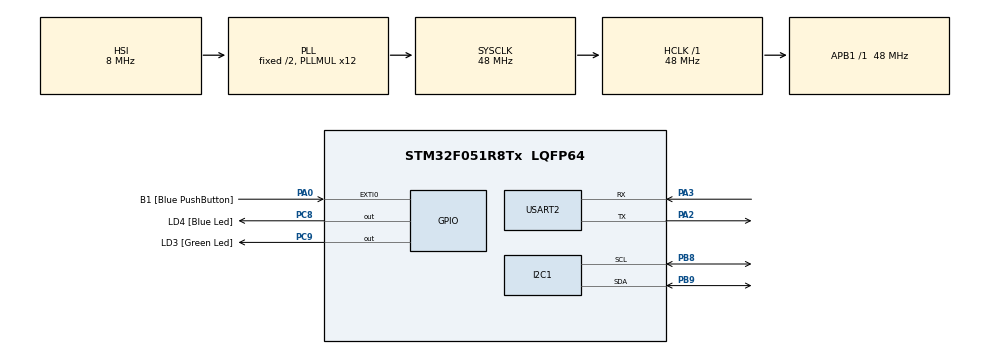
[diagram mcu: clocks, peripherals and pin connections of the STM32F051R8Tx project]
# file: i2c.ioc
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Mcu.Family=STM32F0
Mcu.Name=STM32F051R8Tx
Mcu.Package=LQFP64
PA0.GPIO_Label=B1 [Blue PushButton]
PA0.GPIO_ModeDefaultEXTI=GPIO_MODE_EVT_RISING
PA0.Signal=GPXTI0
PA13.GPIO_Label=SWDIO
PA13.Mode=Serial_Wire
PA13.Signal=SYS_SWDIO
PA14.GPIO_Label=SWCLK
PA14.Mode=Serial_Wire
PA14.Signal=SYS_SWCLK
PA2.Mode=Asynchronous
PA2.Signal=USART2_TX
PA3.Mode=Asynchronous
PA3.Signal=USART2_RX
PB8.Mode=I2C
PB8.Signal=I2C1_SCL
PB9.Mode=I2C
PB9.Signal=I2C1_SDA
PC8.GPIO_Label=LD4 [Blue Led]
PC8.Signal=GPIO_Output
PC9.GPIO_Label=LD3 [Green Led]
PC9.Signal=GPIO_Output
ProjectManager.HeapSize=0x200
ProjectManager.StackSize=0x400
ProjectManager.TargetToolchain=STM32CubeIDE
RCC.AHBFreq_Value=48000000
RCC.APB1Freq_Value=48000000
RCC.APB1TimFreq_Value=48000000
RCC.HCLKFreq_Value=48000000
RCC.PLLMUL=RCC_PLL_MUL12
RCC.SYSCLKFreq_VALUE=48000000
RCC.SYSCLKSource=RCC_SYSCLKSOURCE_PLLCLK
USART2.VirtualMode-Asynchronous=VM_ASYNC
board=STM32F0DISCOVERY

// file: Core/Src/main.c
/* USER CODE BEGIN Header */
/**
  ******************************************************************************
  * @file           : main.c
  * @brief          : Main program body
  ******************************************************************************
  * @attention
  *
  * Copyright (c) 2024 STMicroelectronics.
  * All rights reserved.
  *
  * This software is licensed under terms that can be found in the LICENSE file
  * in the root directory of this software component.
  * If no LICENSE file comes with this software, it is provided AS-IS.
  *
  ******************************************************************************
  */
/* USER CODE END Header */
#include "main.h"

/* USER CODE BEGIN Includes */
#include <stdio.h>
#include <string.h>
/* USER CODE END Includes */

I2C_HandleTypeDef hi2c1;

UART_HandleTypeDef huart2;

void SystemClock_Config(void);
static void MX_GPIO_Init(void);
static void MX_I2C1_Init(void);
static void MX_USART2_UART_Init(void);

int main(void)
{
  /* USER CODE BEGIN 1 */
	HAL_StatusTypeDef st;
	uint16_t data;
	uint8_t buf[60]; // four sensors using 15 bit sequences
	int temp = 0x0;
	const int addresses[4] = {0x48 << 1, 0x49 << 1, 0x4A << 1, 0x4B << 1};
	const int regAddr = 0x0;

  /* USER CODE END 1 */

  /* MCU Configuration--------------------------------------------------------*/

  /* Reset of all peripherals, Initializes the Flash interface and the Systick. */
  HAL_Init();

  /* Configure the system clock */
  SystemClock_Config();

  /* Initialize all configured peripherals */
  MX_GPIO_Init();
  MX_I2C1_Init();
  MX_USART2_UART_Init();

  /* Infinite loop */
  /* USER CODE BEGIN WHILE */
  while (1)
  {
	  //sprintf((char*)buf, "test!");
	  //HAL_UART_Transmit(&huart2, buf, strlen((char*)buf), HAL_MAX_DELAY);

	  for (int i = 0; i < 4; i++) {
		  buf[0] = regAddr;
		  st = HAL_I2C_Master_Transmit(&hi2c1, addresses[i], buf, 1, HAL_MAX_DELAY);

		  if (st == HAL_OK) {
			  data = ((uint16_t)buf[0] << 5 | buf[1] >> 3);
			  if (data > 0x7FF) data |= 0xF000;

			  temp = (data * 625)/100;
			  sprintf((char*)buf, "%d %u.%02u C\r\n", i, (unsigned int)temp/100,
					  (unsigned int)temp%100);

			  HAL_UART_Transmit(&huart2, buf, strlen((char*)buf), HAL_MAX_DELAY);

		  } else {
			  sprintf((char*)buf, "Could not receive data\r\n");
		  }
		  HAL_Delay(2000);
	  }
    /* USER CODE END WHILE */

  }
}

void SystemClock_Config(void)
{
  RCC_OscInitTypeDef RCC_OscInitStruct = {0};
  RCC_ClkInitTypeDef RCC_ClkInitStruct = {0};
  RCC_PeriphCLKInitTypeDef PeriphClkInit = {0};

  /** Initializes the RCC Oscillators according to the specified parameters
  * in the RCC_OscInitTypeDef structure.
  */
  RCC_OscInitStruct.OscillatorType = RCC_OSCILLATORTYPE_HSI;
  RCC_OscInitStruct.HSIState = RCC_HSI_ON;
  RCC_OscInitStruct.HSICalibrationValue = RCC_HSICALIBRATION_DEFAULT;
  RCC_OscInitStruct.PLL.PLLState = RCC_PLL_ON;
  RCC_OscInitStruct.PLL.PLLSource = RCC_PLLSOURCE_HSI;
  RCC_OscInitStruct.PLL.PLLMUL = RCC_PLL_MUL12;
  RCC_OscInitStruct.PLL.PREDIV = RCC_PREDIV_DIV1;
  if (HAL_RCC_OscConfig(&RCC_OscInitStruct) != HAL_OK)
  {
    Error_Handler();
  }

  /** Initializes the CPU, AHB and APB buses clocks
  */
  RCC_ClkInitStruct.ClockType = RCC_CLOCKTYPE_HCLK|RCC_CLOCKTYPE_SYSCLK
                              |RCC_CLOCKTYPE_PCLK1;
  RCC_ClkInitStruct.SYSCLKSource = RCC_SYSCLKSOURCE_PLLCLK;
  RCC_ClkInitStruct.AHBCLKDivider = RCC_SYSCLK_DIV1;
  RCC_ClkInitStruct.APB1CLKDivider = RCC_HCLK_DIV1;

  if (HAL_RCC_ClockConfig(&RCC_ClkInitStruct, FLASH_LATENCY_1) != HAL_OK)
  {
    Error_Handler();
  }
  PeriphClkInit.PeriphClockSelection = RCC_PERIPHCLK_I2C1;
  PeriphClkInit.I2c1ClockSelection = RCC_I2C1CLKSOURCE_HSI;
  if (HAL_RCCEx_PeriphCLKConfig(&PeriphClkInit) != HAL_OK)
  {
    Error_Handler();
  }
}

static void MX_I2C1_Init(void)
{

  hi2c1.Instance = I2C1;
  hi2c1.Init.Timing = 0x2000090E;
  hi2c1.Init.OwnAddress1 = 0;
  hi2c1.Init.AddressingMode = I2C_ADDRESSINGMODE_7BIT;
  hi2c1.Init.DualAddressMode = I2C_DUALADDRESS_DISABLE;
  hi2c1.Init.OwnAddress2 = 0;
  hi2c1.Init.OwnAddress2Masks = I2C_OA2_NOMASK;
  hi2c1.Init.GeneralCallMode = I2C_GENERALCALL_DISABLE;
  hi2c1.Init.NoStretchMode = I2C_NOSTRETCH_DISABLE;
  if (HAL_I2C_Init(&hi2c1) != HAL_OK)
  {
    Error_Handler();
  }

  /** Configure Analogue filter
  */
  if (HAL_I2CEx_ConfigAnalogFilter(&hi2c1, I2C_ANALOGFILTER_ENABLE) != HAL_OK)
  {
    Error_Handler();
  }

  /** Configure Digital filter
  */
  if (HAL_I2CEx_ConfigDigitalFilter(&hi2c1, 0) != HAL_OK)
  {
    Error_Handler();
  }

}

static void MX_USART2_UART_Init(void)
{

  huart2.Instance = USART2;
  huart2.Init.BaudRate = 38400;
  huart2.Init.WordLength = UART_WORDLENGTH_8B;
  huart2.Init.StopBits = UART_STOPBITS_1;
  huart2.Init.Parity = UART_PARITY_NONE;
  huart2.Init.Mode = UART_MODE_TX_RX;
  huart2.Init.HwFlowCtl = UART_HWCONTROL_NONE;
  huart2.Init.OverSampling = UART_OVERSAMPLING_16;
  huart2.Init.OneBitSampling = UART_ONE_BIT_SAMPLE_DISABLE;
  huart2.AdvancedInit.AdvFeatureInit = UART_ADVFEATURE_NO_INIT;
  if (HAL_UART_Init(&huart2) != HAL_OK)
  {
    Error_Handler();
  }

}

static void MX_GPIO_Init(void)
{
  GPIO_InitTypeDef GPIO_InitStruct = {0};

  /* GPIO Ports Clock Enable */
  __HAL_RCC_GPIOA_CLK_ENABLE();
  __HAL_RCC_GPIOC_CLK_ENABLE();
  __HAL_RCC_GPIOB_CLK_ENABLE();

  /*Configure GPIO pin Output Level */
  HAL_GPIO_WritePin(GPIOC, LD4_Pin|LD3_Pin, GPIO_PIN_RESET);

  /*Configure GPIO pin : B1_Pin */
  GPIO_InitStruct.Pin = B1_Pin;
  GPIO_InitStruct.Mode = GPIO_MODE_EVT_RISING;
  GPIO_InitStruct.Pull = GPIO_NOPULL;
  HAL_GPIO_Init(B1_GPIO_Port, &GPIO_InitStruct);

  /*Configure GPIO pins : LD4_Pin LD3_Pin */
  GPIO_InitStruct.Pin = LD4_Pin|LD3_Pin;
  GPIO_InitStruct.Mode = GPIO_MODE_OUTPUT_PP;
  GPIO_InitStruct.Pull = GPIO_NOPULL;
  GPIO_InitStruct.Speed = GPIO_SPEED_FREQ_LOW;
  HAL_GPIO_Init(GPIOC, &GPIO_InitStruct);

}

void Error_Handler(void)
{
  __disable_irq();
  while (1)
  {
  }
}
